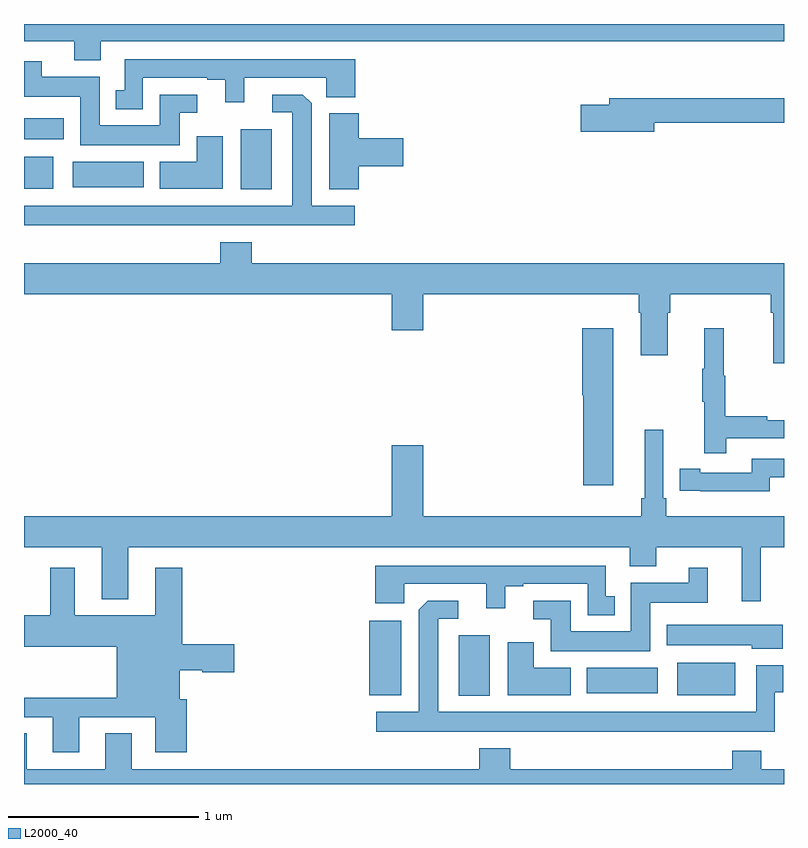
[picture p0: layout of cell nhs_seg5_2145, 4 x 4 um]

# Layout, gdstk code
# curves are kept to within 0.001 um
import gdstk
lib = gdstk.Library(unit=1e-6, precision=1e-09)
def R(c, l, rs):  # rectangles x0, y0, x1, y1
    for r in rs: c.add(gdstk.rectangle(r[:2], r[2:], *l))
def P(c, l, *ps):  # polygons
    for p in ps: c.add(gdstk.Polygon(p, *l))
L2000_40 = (2000, 40)

nhs_seg5_2145 = lib.new_cell('nhs_seg5_2145')
R(nhs_seg5_2145, L2000_40, [(237.287,905.264,237.451,905.581), (236.816,905.267,236.986,905.659), (238.439,905.267,238.744,905.437), (237.962,905.276,238.336,905.41), (236.141,907.928,236.305,908.245), (235,907.931,235.153,908.101), (235.257,907.94,235.63,908.074), (235,908.192,235.21,908.302)])
P(nhs_seg5_2145, L2000_40, [(235.405,908.708),(239,908.708),(239,908.799),(235,908.799),(235,908.708),(235.265,908.708),(235.265,908.609),(235.405,908.609)],
  [(235.626,908.517),(235.964,908.517),(235.964,908.505),(236.06,908.505),(236.06,908.388),(236.158,908.388),(236.158,908.517),(236.592,908.517),(236.592,908.414),(236.744,908.414),(236.744,908.613),(235.53,908.613),(235.53,908.451),(235.484,908.451),(235.484,908.351),(235.626,908.351)],
  [(235.819,908.331),(235.912,908.331),(235.912,908.427),(235.715,908.427),(235.715,908.266),(235.399,908.266),(235.399,908.521),(235.093,908.521),(235.093,908.602),(235,908.602),(235,908.417),(235.295,908.417),(235.295,908.162),(235.819,908.162)],
  [(236.74,907.843),(236.515,907.843),(236.514,908.381),(236.468,908.427),(236.307,908.427),(236.307,908.334),(236.411,908.334),(236.411,907.843),(235,907.843),(235,907.739),(236.74,907.739)],
  [(238.318,908.278),(239,908.278),(239,908.407),(238.079,908.407),(238.079,908.373),(237.93,908.373),(237.93,908.231),(238.318,908.231)],
  [(236.762,908.051),(236.995,908.051),(236.995,908.198),(236.762,908.198),(236.762,908.329),(236.606,908.329),(236.606,907.928),(236.762,907.928)],
  [(236.047,908.209),(235.91,908.209),(235.91,908.074),(235.715,908.074),(235.715,907.931),(236.047,907.931)],
  [(239,907.54),(236.198,907.54),(236.198,907.651),(236.033,907.651),(236.033,907.54),(235,907.54),(235,907.376),(236.936,907.376),(236.936,907.188),(237.1,907.188),(237.1,907.376),(238.235,907.376),(238.235,907.28),(238.247,907.28),(238.247,907.056),(238.387,907.056),(238.387,907.28),(238.4,907.28),(238.4,907.376),(238.931,907.376),(238.931,907.28),(238.943,907.28),(238.943,907.014),(239,907.014)],
  [(238.697,906.618),(239,906.618),(239,906.714),(238.913,906.714),(238.913,906.734),(238.69,906.734),(238.69,906.948),(238.682,906.948),(238.682,907.198),(238.58,907.198),(238.58,906.985),(238.569,906.985),(238.569,906.811),(238.58,906.811),(238.58,906.54),(238.697,906.54)],
  [(238.102,907.198),(237.938,907.198),(237.938,906.846),(237.944,906.846),(237.944,906.372),(238.102,906.372)],
  [(238.877,906.044),(239,906.044),(239,906.208),(238.379,906.208),(238.379,906.304),(238.365,906.304),(238.365,906.664),(238.268,906.664),(238.268,906.304),(238.249,906.304),(238.249,906.208),(237.1,906.208),(237.1,906.583),(236.936,906.583),(236.936,906.208),(235,906.208),(235,906.044),(235.409,906.044),(235.409,905.771),(235.549,905.771),(235.549,906.044),(238.187,906.044),(238.187,905.945),(238.327,905.945),(238.327,906.044),(238.778,906.044),(238.778,905.76),(238.877,905.76)],
  [(238.926,906.414),(239,906.414),(239,906.51),(238.83,906.51),(238.83,906.438),(238.558,906.438),(238.558,906.458),(238.45,906.458),(238.45,906.342),(238.558,906.342),(238.558,906.341),(238.926,906.341)],
  [(238.108,905.787),(238.062,905.787),(238.062,905.949),(236.849,905.949),(236.849,905.75),(237,905.75),(237,905.853),(237.434,905.853),(237.434,905.724),(237.532,905.724),(237.532,905.841),(237.628,905.841),(237.628,905.853),(237.966,905.853),(237.966,905.687),(238.108,905.687)],
  [(235.291,905.151),(235.691,905.151),(235.691,904.965),(235.856,904.965),(235.856,905.244),(235.819,905.244),(235.819,905.399),(235.939,905.399),(235.939,905.387),(236.107,905.387),(236.107,905.534),(235.832,905.534),(235.832,905.938),(235.691,905.938),(235.691,905.686),(235.267,905.686),(235.267,905.938),(235.139,905.938),(235.139,905.686),(235,905.686),(235,905.522),(235.487,905.522),(235.487,905.252),(235,905.252),(235,905.151),(235.151,905.151),(235.151,904.965),(235.291,904.965)],
  [(238.297,905.753),(238.598,905.753),(238.598,905.938),(238.499,905.938),(238.499,905.857),(238.193,905.857),(238.193,905.602),(237.877,905.602),(237.877,905.763),(237.681,905.763),(237.681,905.667),(237.773,905.667),(237.773,905.498),(238.297,905.498)],
  [(238.951,905.281),(238.996,905.281),(238.996,905.425),(238.854,905.425),(238.854,905.179),(237.181,905.179),(237.181,905.67),(237.286,905.67),(237.286,905.763),(237.124,905.763),(237.078,905.717),(237.077,905.179),(236.853,905.179),(236.853,905.075),(238.951,905.075)],
  [(238.993,905.638),(238.382,905.638),(238.382,905.528),(238.83,905.528),(238.83,905.51),(238.993,905.51)],
  [(237.877,905.41),(237.682,905.41),(237.682,905.545),(237.545,905.545),(237.545,905.267),(237.877,905.267)],
  [(237.395,904.987),(237.395,904.876),(235.567,904.876),(235.567,905.066),(235.427,905.066),(235.427,904.876),(235.015,904.876),(235.015,905.066),(235,905.066),(235,904.799),(239,904.799),(239,904.876),(238.879,904.876),(238.879,904.975),(238.727,904.975),(238.727,904.876),(237.56,904.876),(237.56,904.987)])

lib.write_gds('nhs_seg5_2145.gds')
